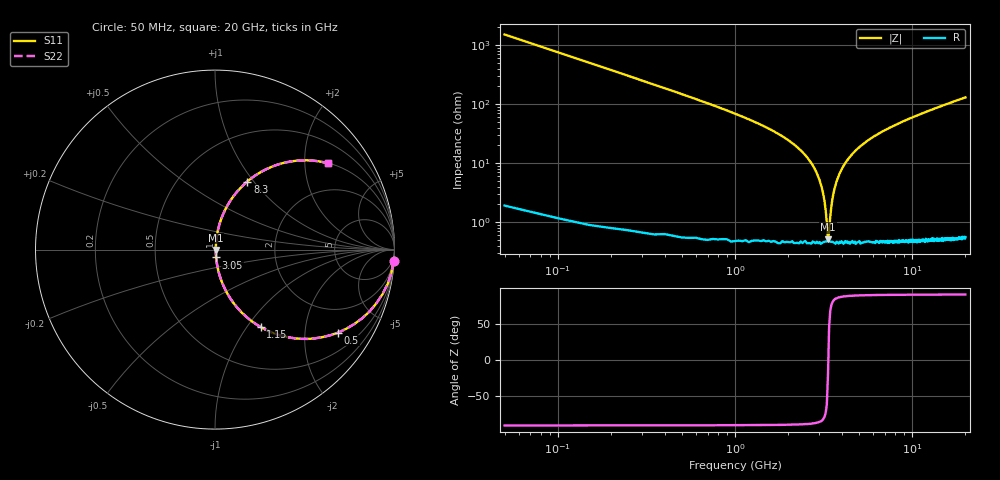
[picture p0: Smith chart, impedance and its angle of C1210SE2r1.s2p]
! AVX Thin Film Operation		Date: April 2012
! Description: Accu-P® Series, Thin Film, SMD, RF Capacitor
! Part Number: 12101J2R1QBTTR
!	100	MHz	-	20.05	GHz
!	Serial	Measurements
#	MHZ	S	MA	R	50
!	S11	S21	S12	S22
!	dB	Phase	dB	Phase	dB	Phase	dB	Phase
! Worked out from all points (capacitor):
!   400 points, 50 MHz to 20 GHz, reference 50 ohm
!   read as one part in series: C = 2.1 pF near 150 MHz
!   lowest |Z| = 513 mohm at 3.35 GHz (marker M1)
!   series resonance near 3.364 GHz, so ESL is about 1.1 nH
!   S11 on the Smith chart (normalised r, x): 50 MHz: 1, -30; 500 MHz: 1.01, -2.97; 1.15 GHz: 1.01, -1.16; 3.05 GHz: 1.01, -0.09; 8.3 GHz: 1.01, +0.93; 20 GHz: 1.01, +2.60
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50  0.998 -3.8  0.066 86.2  0.066 86.2  0.998 -3.8
100  0.991 -7.5  0.131 82.4  0.131 82.4  0.991 -7.5
200  0.966 -14.8  0.256 75.1  0.256 75.1  0.966 -14.8
500  0.828 -33.9  0.558 55.8  0.558 55.8  0.828 -33.9
1150  0.501 -59.4  0.861 30.1  0.861 30.1  0.501 -59.4
2400  0.153 -79.5  0.984 8.8  0.984 8.8  0.153 -79.5
2800  0.083 -82.1  0.992 4.7  0.992 4.7  0.083 -82.1
3050  0.044 -81.6  0.995 2.5  0.995 2.5  0.044 -81.6
3250  0.016 -72.8  0.995 0.9  0.995 0.9  0.016 -72.8
3350  0.004879 -21.9  0.995 0.1  0.995 0.1  0.004879 -21.9
3400  0.006607 46.5  0.995 -0.3  0.995 -0.3  0.006607 46.5
3500  0.018 74.7  0.995 -1.0  0.995 -1.0  0.018 74.7
3600  0.031 79.8  0.995 -1.7  0.995 -1.7  0.031 79.8
3850  0.061 82.3  0.994 -3.5  0.994 -3.5  0.061 82.3
4150  0.095 81.8  0.991 -5.4  0.991 -5.4  0.095 81.8
5100  0.189 77.8  0.978 -10.9  0.978 -10.9  0.189 77.8
6700  0.317 70.7  0.944 -18.5  0.944 -18.5  0.317 70.7
8300  0.42 64.6  0.903 -24.8  0.903 -24.8  0.42 64.6
10050  0.511 58.8  0.855 -30.7  0.855 -30.7  0.511 58.8
13350  0.64 49.9  0.764 -39.8  0.764 -39.8  0.64 49.9
16700  0.73 42.8  0.68 -46.9  0.68 -46.9  0.73 42.8
20000  0.791 37.4  0.608 -52.3  0.608 -52.3  0.791 37.4
